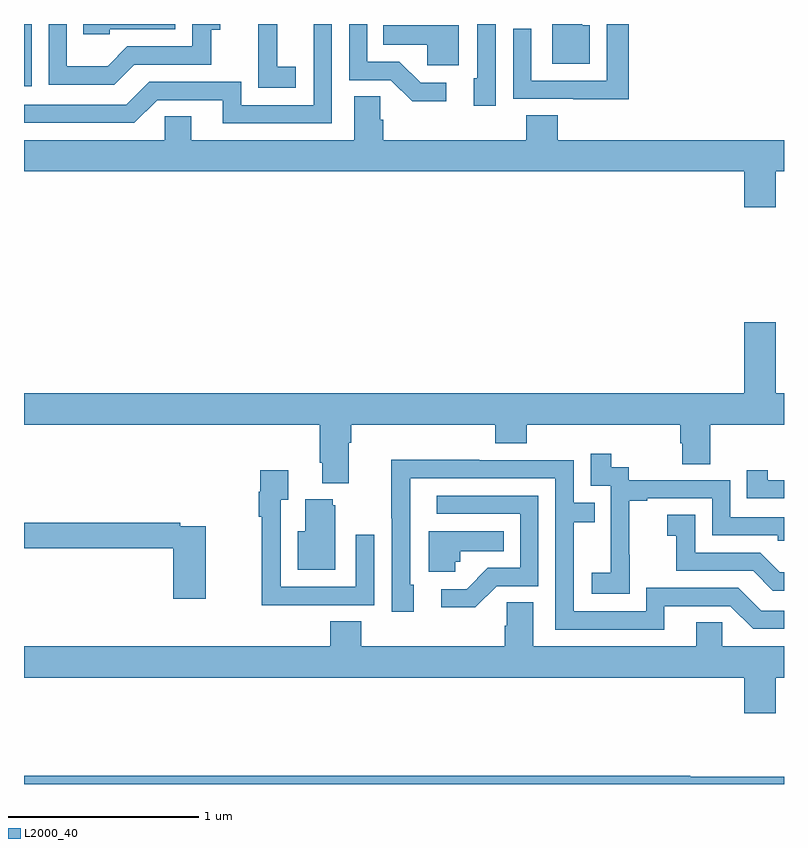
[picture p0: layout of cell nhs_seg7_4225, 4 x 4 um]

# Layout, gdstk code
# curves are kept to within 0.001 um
import gdstk
lib = gdstk.Library(unit=1e-6, precision=1e-09)
def R(c, l, rs):  # rectangles x0, y0, x1, y1
    for r in rs: c.add(gdstk.rectangle(r[:2], r[2:], *l))
def P(c, l, *ps):  # polygons
    for p in ps: c.add(gdstk.Polygon(p, *l))
L2000_40 = (2000, 40)

nhs_seg7_4225 = lib.new_cell('nhs_seg7_4225')
R(nhs_seg7_4225, L2000_40, [(377,1059.672,377.04,1060)])
P(nhs_seg7_4225, L2000_40, [(378.621,1060),(378.525,1060),(378.525,1059.573),(378.144,1059.573),(378.144,1059.696),(377.658,1059.696),(377.538,1059.576),(377,1059.576),(377,1059.48),(377.58,1059.48),(377.7,1059.6),(378.047,1059.6),(378.047,1059.477),(378.621,1059.477)],
  [(377.581,1059.786),(377.985,1059.786),(377.985,1059.971),(378.034,1059.971),(378.034,1060),(377.886,1060),(377.886,1059.882),(377.544,1059.882),(377.44,1059.778),(377.226,1059.778),(377.226,1060),(377.13,1060),(377.13,1059.681),(377.476,1059.681)],
  [(379.482,1060),(379.386,1060),(379.386,1059.714),(379.367,1059.714),(379.367,1059.57),(379.482,1059.57)],
  [(380.183,1060),(380.067,1060),(380.067,1059.702),(379.671,1059.702),(379.671,1059.976),(379.575,1059.976),(379.575,1059.606),(379.891,1059.606),(379.891,1059.605),(380.183,1059.605)],
  [(379.222,1059.69),(379.087,1059.69),(378.976,1059.801),(378.807,1059.801),(378.807,1060),(378.711,1060),(378.711,1059.705),(378.93,1059.705),(379.043,1059.593),(379.222,1059.593)],
  [(379.978,1059.994),(379.939,1059.994),(379.939,1060),(379.781,1060),(379.781,1059.791),(379.978,1059.791)],
  [(377.451,1059.972),(377.796,1059.972),(377.796,1060),(377.311,1060),(377.311,1059.945),(377.451,1059.945)],
  [(378.43,1059.775),(378.332,1059.775),(378.332,1060),(378.233,1060),(378.233,1059.871),(378.232,1059.871),(378.232,1059.665),(378.43,1059.665)],
  [(379.288,1059.994),(378.892,1059.994),(378.892,1059.89),(379.123,1059.89),(379.123,1059.782),(379.288,1059.782)],
  [(380.956,1059.224),(381,1059.224),(381,1059.388),(379.808,1059.388),(379.808,1059.521),(379.643,1059.521),(379.643,1059.388),(378.89,1059.388),(378.89,1059.497),(378.876,1059.497),(378.876,1059.62),(378.737,1059.62),(378.737,1059.388),(377.881,1059.388),(377.881,1059.515),(377.742,1059.515),(377.742,1059.388),(377,1059.388),(377,1059.224),(380.792,1059.224),(380.792,1059.036),(380.956,1059.036)],
  [(378.709,1057.796),(378.722,1057.796),(378.722,1057.892),(379.481,1057.892),(379.481,1057.793),(379.646,1057.793),(379.646,1057.892),(380.453,1057.892),(380.453,1057.794),(380.465,1057.794),(380.465,1057.684),(380.613,1057.684),(380.613,1057.892),(381,1057.892),(381,1058.056),(380.956,1058.056),(380.956,1058.431),(380.792,1058.431),(380.792,1058.056),(377,1058.056),(377,1057.892),(378.557,1057.892),(378.557,1057.69),(378.569,1057.69),(378.569,1057.583),(378.709,1057.583)],
  [(380.187,1057.207),(380.186,1057.207),(380.186,1057.491),(380.281,1057.491),(380.281,1057.503),(380.622,1057.503),(380.622,1057.308),(380.967,1057.308),(380.967,1057.281),(381,1057.281),(381,1057.404),(380.718,1057.404),(380.718,1057.599),(380.184,1057.599),(380.184,1057.668),(380.092,1057.668),(380.092,1057.738),(379.983,1057.738),(379.983,1057.569),(380.088,1057.569),(380.088,1057.34),(380.087,1057.34),(380.087,1057.111),(379.989,1057.111),(379.989,1057.001),(380.187,1057.001)],
  [(380.371,1056.936),(380.718,1056.936),(380.838,1056.816),(381,1056.816),(381,1056.912),(380.88,1056.912),(380.76,1057.032),(380.274,1057.032),(380.274,1056.909),(379.893,1056.909),(379.893,1057.378),(380.003,1057.378),(380.003,1057.479),(379.893,1057.479),(379.893,1057.704),(379.397,1057.704),(379.397,1057.706),(378.934,1057.706),(378.934,1057.399),(378.936,1057.399),(378.936,1056.906),(379.051,1056.906),(379.051,1057.05),(379.032,1057.05),(379.033,1057.608),(379.797,1057.608),(379.797,1056.813),(380.371,1056.813)],
  [(381,1057.599),(380.914,1057.599),(380.914,1057.651),(380.803,1057.651),(380.803,1057.503),(381,1057.503)],
  [(378.527,1056.942),(378.843,1056.942),(378.843,1057.312),(378.747,1057.312),(378.747,1057.038),(378.351,1057.038),(378.351,1057.495),(378.391,1057.495),(378.391,1057.651),(378.243,1057.651),(378.243,1057.538),(378.235,1057.538),(378.235,1057.406),(378.25,1057.406),(378.25,1056.941),(378.527,1056.941)],
  [(379.488,1057.041),(379.707,1057.041),(379.707,1057.518),(379.173,1057.518),(379.173,1057.422),(379.611,1057.422),(379.611,1057.137),(379.442,1057.137),(379.331,1057.026),(379.197,1057.026),(379.197,1056.929),(379.375,1056.929)],
  [(378.637,1057.467),(378.626,1057.467),(378.626,1057.498),(378.479,1057.498),(378.479,1057.33),(378.44,1057.33),(378.44,1057.127),(378.637,1057.127)],
  [(381,1057.114),(380.978,1057.114),(380.874,1057.218),(380.532,1057.218),(380.532,1057.417),(380.385,1057.417),(380.385,1057.307),(380.434,1057.307),(380.434,1057.122),(380.837,1057.122),(380.942,1057.017),(381,1057.017)],
  [(377.956,1057.356),(377.822,1057.356),(377.822,1057.376),(377,1057.376),(377,1057.24),(377.786,1057.24),(377.786,1056.975),(377.956,1056.975)],
  [(379.269,1057.17),(379.296,1057.17),(379.296,1057.226),(379.526,1057.226),(379.526,1057.33),(379.13,1057.33),(379.13,1057.118),(379.269,1057.118)],
  [(380.956,1056.56),(381,1056.56),(381,1056.724),(380.676,1056.724),(380.676,1056.851),(380.537,1056.851),(380.537,1056.724),(379.681,1056.724),(379.681,1056.956),(379.542,1056.956),(379.542,1056.833),(379.529,1056.833),(379.529,1056.724),(378.776,1056.724),(378.776,1056.857),(378.611,1056.857),(378.611,1056.724),(377,1056.724),(377,1056.56),(380.792,1056.56),(380.792,1056.372),(380.956,1056.372)],
  [(381,1056.037),(380.506,1056.037),(380.506,1056.044),(377,1056.044),(377,1056),(381,1056)])

lib.write_gds('nhs_seg7_4225.gds')
